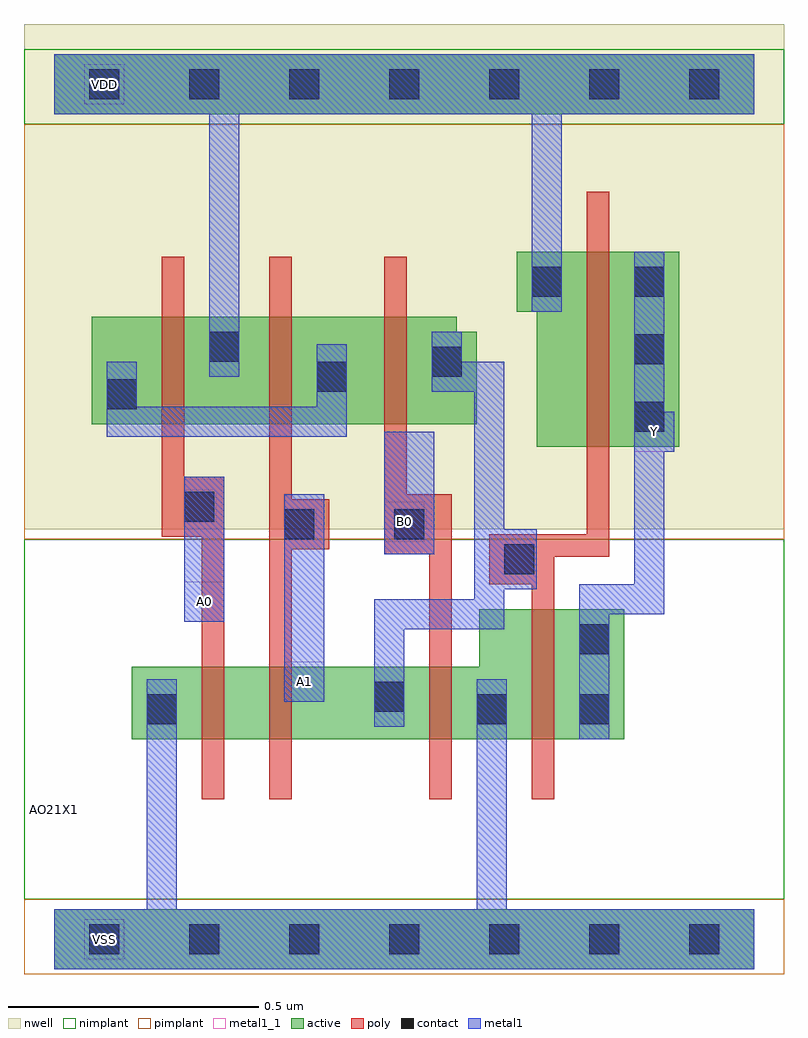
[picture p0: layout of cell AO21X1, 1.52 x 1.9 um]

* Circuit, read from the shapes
.subckt AO21X1 A0 A1 B0 VDD VSS Y
M1 n1 A0 VSS VSS nfet w=0.145u l=0.045u
M2 n2 A1 n1 VSS nfet w=0.145u l=0.045u
M3 VSS B0 n2 VSS nfet w=0.145u l=0.045u
M4 Y n2 VSS VSS nfet w=0.26u l=0.045u
M5 VDD A0 n3 VDD pfet w=0.215u l=0.045u
M6 n3 A1 VDD VDD pfet w=0.215u l=0.045u
M7 n2 B0 n3 VDD pfet w=0.215u l=0.045u
M8 Y n2 VDD VDD pfet w=0.39u l=0.045u
.ends

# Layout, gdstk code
import gdstk
lib = gdstk.Library(unit=1e-6, precision=5e-10)
def R(c, l, rs):  # rectangles x0, y0, x1, y1
    for r in rs: c.add(gdstk.rectangle(r[:2], r[2:], *l))
def A(c, l, x, y, w, h, nx, ny, dx, dy):  # array of equal rectangles
    R(c, l, [(x+i*dx, y+j*dy, x+i*dx+w, y+j*dy+h) for i in range(nx) for j in range(ny)])
def P(c, l, *ps):  # polygons
    for p in ps: c.add(gdstk.Polygon(p, *l))
active = (1, 0)
nwell = (2, 0)
poly = (3, 0)
nimplant = (4, 0)
pimplant = (5, 0)
contact = (6, 0)
metal1 = (7, 0)
metal1_1 = (7, 1)

ao21x1 = lib.new_cell('AO21X1')
R(ao21x1, active, [(0,-0.06,1.4,0.06), (0,1.65,1.4,1.77)])
P(ao21x1, active, [(1.25,1.375),(0.925,1.375),(0.925,1.255),(0.965,1.255),(0.965,0.985),(1.25,0.985)],
  [(1.14,0.66),(0.85,0.66),(0.85,0.545),(0.155,0.545),(0.155,0.4),(1.14,0.4)],
  [(0.845,1.215),(0.805,1.215),(0.805,1.245),(0.075,1.245),(0.075,1.03),(0.845,1.03)])
R(ao21x1, nwell, [(-0.06,0.82,1.46,1.83)])
P(ao21x1, poly, [(1.11,1.495),(1.065,1.495),(1.065,0.81),(0.87,0.81),(0.87,0.71),(0.955,0.71),(0.955,0.28),(1,0.28),(1,0.765),(1.11,0.765)],
  [(0.795,0.89),(0.705,0.89),(0.705,1.365),(0.66,1.365),(0.66,0.77),(0.75,0.77),(0.75,0.28),(0.795,0.28)],
  [(0.55,0.88),(0.475,0.88),(0.475,1.365),(0.43,1.365),(0.43,0.28),(0.475,0.28),(0.475,0.78),(0.55,0.78)],
  [(0.34,0.925),(0.26,0.925),(0.26,1.365),(0.215,1.365),(0.215,0.805),(0.295,0.805),(0.295,0.28),(0.34,0.28)])
R(ao21x1, nimplant, [(-0.06,0.08,1.46,0.8), (-0.06,1.63,1.46,1.78)])
R(ao21x1, pimplant, [(-0.06,-0.07,1.46,0.08), (-0.06,0.8,1.46,1.63)])
A(ao21x1, contact, 0.07, -0.03, 0.06, 0.06, 7, 2, 0.2, 1.71)
A(ao21x1, contact, 1.16, 1.015, 0.06, 0.06, 1, 3, 0, 0.135)
R(ao21x1, contact, [(0.185,0.43,0.245,0.49), (0.845,0.43,0.905,0.49), (1.05,0.43,1.11,0.49), (0.64,0.455,0.7,0.515), (1.05,0.57,1.11,0.63), (0.9,0.73,0.96,0.79), (0.46,0.8,0.52,0.86), (0.68,0.8,0.74,0.86), (0.26,0.835,0.32,0.895), (0.105,1.06,0.165,1.12), (0.525,1.095,0.585,1.155), (0.755,1.125,0.815,1.185), (0.31,1.155,0.37,1.215), (0.955,1.285,1.015,1.345)])
R(ao21x1, metal1, [(0.46,0.475,0.54,0.89), (0.26,0.635,0.34,0.925), (0.66,0.77,0.76,1.015)])
P(ao21x1, metal1, [(1.4,0.06),(0.905,0.06),(0.905,0.52),(0.845,0.52),(0.845,0.06),(0.245,0.06),(0.245,0.52),(0.185,0.52),(0.185,0.06),(0,0.06),(0,-0.06),(1.4,-0.06)],
  [(1.4,1.77),(0,1.77),(0,1.65),(0.31,1.65),(0.31,1.125),(0.37,1.125),(0.37,1.65),(0.955,1.65),(0.955,1.255),(1.015,1.255),(1.015,1.65),(1.4,1.65)],
  [(1.24,1.055),(1.22,1.055),(1.22,1.375),(1.16,1.375),(1.16,0.71),(1.05,0.71),(1.05,0.4),(1.11,0.4),(1.11,0.65),(1.22,0.65),(1.22,0.975),(1.24,0.975)],
  [(0.965,0.82),(0.9,0.82),(0.9,1.155),(0.815,1.155),(0.815,1.215),(0.755,1.215),(0.755,1.095),(0.84,1.095),(0.84,0.68),(0.64,0.68),(0.64,0.425),(0.7,0.425),(0.7,0.62),(0.9,0.62),(0.9,0.7),(0.965,0.7)],
  [(0.585,1.19),(0.525,1.19),(0.525,1.065),(0.165,1.065),(0.165,1.155),(0.105,1.155),(0.105,1.005),(0.585,1.005)])
R(ao21x1, metal1_1, [(0.06,-0.04,0.14,0.04), (0.46,0.475,0.54,0.555), (0.26,0.635,0.34,0.715), (0.66,0.795,0.74,0.875), (1.16,0.975,1.24,1.055), (0.06,1.67,0.14,1.75)])
ao21x1.add(gdstk.Label('VSS', (0.1,0), layer=7, texttype=1))
ao21x1.add(gdstk.Label('Y', (1.2,1.015), layer=7, texttype=1))
ao21x1.add(gdstk.Label('A0', (0.3,0.675), layer=7, texttype=1))
ao21x1.add(gdstk.Label('A1', (0.5,0.515), layer=7, texttype=1))
ao21x1.add(gdstk.Label('B0', (0.7,0.835), layer=7, texttype=1))
ao21x1.add(gdstk.Label('VDD', (0.1,1.71), layer=7, texttype=1))
ao21x1.add(gdstk.Label('AO21X1', (0,0.26), layer=63, texttype=0))

lib.write_gds('AO21X1.gds')
